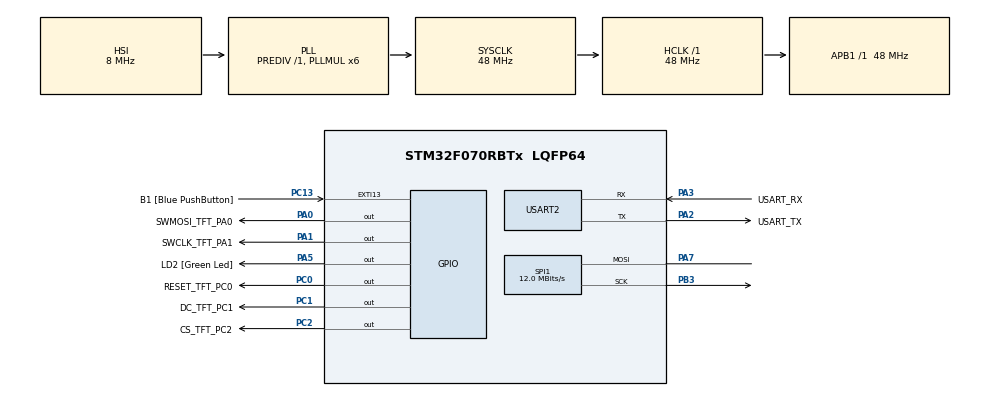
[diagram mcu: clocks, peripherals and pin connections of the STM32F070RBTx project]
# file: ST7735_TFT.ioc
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Mcu.Family=STM32F0
Mcu.Name=STM32F070RBTx
Mcu.Package=LQFP64
PA0.GPIO_Label=SWMOSI_TFT_PA0
PA0.Signal=GPIO_Output
PA1.GPIO_Label=SWCLK_TFT_PA1
PA1.Signal=GPIO_Output
PA13.GPIO_Label=TMS
PA13.Mode=Serial_Wire
PA13.Signal=SYS_SWDIO
PA14.GPIO_Label=TCK
PA14.Mode=Serial_Wire
PA14.Signal=SYS_SWCLK
PA2.GPIO_Label=USART_TX
PA2.Mode=Asynchronous
PA2.Signal=USART2_TX
PA3.GPIO_Label=USART_RX
PA3.Mode=Asynchronous
PA3.Signal=USART2_RX
PA5.GPIO_Label=LD2 [Green Led]
PA5.Signal=GPIO_Output
PA7.Mode=Simplex_Bidirectional_Master
PA7.Signal=SPI1_MOSI
PB3.Mode=Simplex_Bidirectional_Master
PB3.Signal=SPI1_SCK
PC0.GPIO_Label=RESET_TFT_PC0
PC0.Signal=GPIO_Output
PC1.GPIO_Label=DC_TFT_PC1
PC1.Signal=GPIO_Output
PC13.GPIO_Label=B1 [Blue PushButton]
PC13.GPIO_ModeDefaultEXTI=GPIO_MODE_IT_FALLING
PC13.Signal=GPXTI13
PC14-OSC32_IN.GPIO_Label=RCC_OSC32_IN
PC14-OSC32_IN.Mode=LSE-External-Oscillator
PC14-OSC32_IN.Signal=RCC_OSC32_IN
PC15-OSC32_OUT.GPIO_Label=RCC_OSC32_OUT
PC15-OSC32_OUT.Mode=LSE-External-Oscillator
PC15-OSC32_OUT.Signal=RCC_OSC32_OUT
PC2.GPIO_Label=CS_TFT_PC2
PC2.Signal=GPIO_Output
PF0-OSC_IN.GPIO_Label=RCC_OSC_IN
PF0-OSC_IN.Mode=HSE-External-Clock-Source
PF0-OSC_IN.Signal=RCC_OSC_IN
PF1-OSC_OUT.GPIO_Label=RCC_OSC_OUT
PF1-OSC_OUT.Signal=RCC_OSC_OUT
ProjectManager.HeapSize=0x200
ProjectManager.StackSize=0x400
ProjectManager.TargetToolchain=STM32CubeIDE
RCC.AHBFreq_Value=48000000
RCC.APB1Freq_Value=48000000
RCC.APB1TimFreq_Value=48000000
RCC.HCLKFreq_Value=48000000
RCC.PLLMUL=RCC_PLL_MUL6
RCC.SYSCLKFreq_VALUE=48000000
RCC.SYSCLKSource=RCC_SYSCLKSOURCE_PLLCLK
SPI1.BaudRatePrescaler=SPI_BAUDRATEPRESCALER_4
SPI1.CalculateBaudRate=12.0 MBits/s
SPI1.DataSize=SPI_DATASIZE_8BIT
SPI1.Direction=SPI_DIRECTION_1LINE
SPI1.Mode=SPI_MODE_MASTER
SPI1.VirtualType=VM_MASTER
TIM16.ClockDivision=TIM_CLOCKDIVISION_DIV1
TIM16.Prescaler=4800-1
USART2.VirtualMode-Asynchronous=VM_ASYNC
VP_TIM16_VS_ClockSourceINT.Mode=Enable_Timer
board=NUCLEO-F070RB

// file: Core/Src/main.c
/* USER CODE BEGIN Header */
/**
  ******************************************************************************
  * @file           : main.c
  * @brief          : Main program body
  ******************************************************************************
  * @attention
  *
  * <h2><center>&copy; Copyright (c) 2021 STMicroelectronics.
  * All rights reserved.</center></h2>
  *
  * This software component is licensed by ST under BSD 3-Clause license,
  * the "License"; You may not use this file except in compliance with the
  * License. You may obtain a copy of the License at:
  *                        opensource.org/licenses/BSD-3-Clause
  *
  ******************************************************************************
  */
/* USER CODE END Header */
#include "main.h"

/* USER CODE BEGIN Includes */
#include "ST7735_TFT.h"
#include "ST7735_TFT_BITMAP_DATA.h"
#include <stdio.h> //printf
/* USER CODE END Includes */

/* USER CODE BEGIN PD */
// *********** Defines **************
#define TEST_DELAY1 1000
#define TEST_DELAY2 2000
#define TEST_DELAY5 5000
bool bTestFPS = false;
/* USER CODE END PD */

SPI_HandleTypeDef hspi1;

TIM_HandleTypeDef htim16;

UART_HandleTypeDef huart2;

void SystemClock_Config(void);
static void MX_GPIO_Init(void);
static void MX_USART2_UART_Init(void);
static void MX_SPI1_Init(void);
static void MX_TIM16_Init(void);
/* USER CODE BEGIN PFP */
void Setup(void);

void Test0(void); // Print out all five fonts, fonts must be enabled in header file for this to work
void Test1A(void); // defined 16-bit Colors, text
void Test1B(void); // print entire ASCII font 32 to 127
void Test1C(void); // inverted text
void Test1D(void); // test TFTprint
void Test2(void); // font sizes + character draw
void Test3(void); // pixels and lines
void Test4(void); // rectangles
void Test4B(void); // rectangle buffer method
void Test5(void); // Circle
void Test6(void); // Triangles
void Test7(void); // scroll
void Test8(void); // More shapes, media buttons graphic.
void Test9(void); // Rotate
void Test10(void); // change modes test
void Test11(void); // custom char/icon  byte tall
void Test12(void); // two color bitmap Method one
void Test14(void); // two color bitmap method2
void Test15(void); // 16 _24 color bitmap
void TestFPS(void); // FPS test using timer16 set to 10Khz tick

void EndTest(void);
/* USER CODE END PFP */

int main(void)
{

  /* MCU Configuration--------------------------------------------------------*/

  /* Reset of all peripherals, Initializes the Flash interface and the Systick. */
  HAL_Init();

  /* Configure the system clock */
  SystemClock_Config();

  /* Initialize all configured peripherals */
  MX_GPIO_Init();
  MX_USART2_UART_Init();
  MX_SPI1_Init();
  MX_TIM16_Init();

  /* Infinite loop */
  /* USER CODE BEGIN WHILE */
  while (1)
  {
	Setup();
    Test0();
    Test1A();
    Test1B();
    Test1C();
    Test1D();
    Test2();
    Test3();
    Test4();
    Test4B();
    Test5();
    Test6();
    Test7();
    Test8();
    Test9();
    Test10();
    Test11();
    Test12();
    Test14();
    Test15();
    if (bTestFPS == true) TestFPS();
    EndTest();
    /* USER CODE END WHILE */

  }
}

void SystemClock_Config(void)
{
  RCC_OscInitTypeDef RCC_OscInitStruct = {0};
  RCC_ClkInitTypeDef RCC_ClkInitStruct = {0};

  /** Initializes the RCC Oscillators according to the specified parameters
  * in the RCC_OscInitTypeDef structure.
  */
  RCC_OscInitStruct.OscillatorType = RCC_OSCILLATORTYPE_HSI;
  RCC_OscInitStruct.HSIState = RCC_HSI_ON;
  RCC_OscInitStruct.HSICalibrationValue = RCC_HSICALIBRATION_DEFAULT;
  RCC_OscInitStruct.PLL.PLLState = RCC_PLL_ON;
  RCC_OscInitStruct.PLL.PLLSource = RCC_PLLSOURCE_HSI;
  RCC_OscInitStruct.PLL.PLLMUL = RCC_PLL_MUL6;
  RCC_OscInitStruct.PLL.PREDIV = RCC_PREDIV_DIV1;
  if (HAL_RCC_OscConfig(&RCC_OscInitStruct) != HAL_OK)
  {
    Error_Handler();
  }

  /** Initializes the CPU, AHB and APB buses clocks
  */
  RCC_ClkInitStruct.ClockType = RCC_CLOCKTYPE_HCLK|RCC_CLOCKTYPE_SYSCLK
                              |RCC_CLOCKTYPE_PCLK1;
  RCC_ClkInitStruct.SYSCLKSource = RCC_SYSCLKSOURCE_PLLCLK;
  RCC_ClkInitStruct.AHBCLKDivider = RCC_SYSCLK_DIV1;
  RCC_ClkInitStruct.APB1CLKDivider = RCC_HCLK_DIV1;

  if (HAL_RCC_ClockConfig(&RCC_ClkInitStruct, FLASH_LATENCY_1) != HAL_OK)
  {
    Error_Handler();
  }
}

static void MX_SPI1_Init(void)
{

  /* SPI1 parameter configuration*/
  hspi1.Instance = SPI1;
  hspi1.Init.Mode = SPI_MODE_MASTER;
  hspi1.Init.Direction = SPI_DIRECTION_1LINE;
  hspi1.Init.DataSize = SPI_DATASIZE_8BIT;
  hspi1.Init.CLKPolarity = SPI_POLARITY_LOW;
  hspi1.Init.CLKPhase = SPI_PHASE_1EDGE;
  hspi1.Init.NSS = SPI_NSS_SOFT;
  hspi1.Init.BaudRatePrescaler = SPI_BAUDRATEPRESCALER_4;
  hspi1.Init.FirstBit = SPI_FIRSTBIT_MSB;
  hspi1.Init.TIMode = SPI_TIMODE_DISABLE;
  hspi1.Init.CRCCalculation = SPI_CRCCALCULATION_DISABLE;
  hspi1.Init.CRCPolynomial = 7;
  hspi1.Init.CRCLength = SPI_CRC_LENGTH_DATASIZE;
  hspi1.Init.NSSPMode = SPI_NSS_PULSE_ENABLE;
  if (HAL_SPI_Init(&hspi1) != HAL_OK)
  {
    Error_Handler();
  }

}

static void MX_TIM16_Init(void)
{

  htim16.Instance = TIM16;
  htim16.Init.Prescaler = 4800-1;
  htim16.Init.CounterMode = TIM_COUNTERMODE_UP;
  htim16.Init.Period = 65535;
  htim16.Init.ClockDivision = TIM_CLOCKDIVISION_DIV1;
  htim16.Init.RepetitionCounter = 0;
  htim16.Init.AutoReloadPreload = TIM_AUTORELOAD_PRELOAD_DISABLE;
  if (HAL_TIM_Base_Init(&htim16) != HAL_OK)
  {
    Error_Handler();
  }

}

static void MX_USART2_UART_Init(void)
{

  huart2.Instance = USART2;
  huart2.Init.BaudRate = 38400;
  huart2.Init.WordLength = UART_WORDLENGTH_8B;
  huart2.Init.StopBits = UART_STOPBITS_1;
  huart2.Init.Parity = UART_PARITY_NONE;
  huart2.Init.Mode = UART_MODE_TX_RX;
  huart2.Init.HwFlowCtl = UART_HWCONTROL_NONE;
  huart2.Init.OverSampling = UART_OVERSAMPLING_16;
  huart2.Init.OneBitSampling = UART_ONE_BIT_SAMPLE_DISABLE;
  huart2.AdvancedInit.AdvFeatureInit = UART_ADVFEATURE_NO_INIT;
  if (HAL_UART_Init(&huart2) != HAL_OK)
  {
    Error_Handler();
  }

}

static void MX_GPIO_Init(void)
{
  GPIO_InitTypeDef GPIO_InitStruct = {0};

  /* GPIO Ports Clock Enable */
  __HAL_RCC_GPIOC_CLK_ENABLE();
  __HAL_RCC_GPIOF_CLK_ENABLE();
  __HAL_RCC_GPIOA_CLK_ENABLE();
  __HAL_RCC_GPIOB_CLK_ENABLE();

  /*Configure GPIO pin Output Level */
  HAL_GPIO_WritePin(GPIOC, RESET_TFT_PC0_Pin|DC_TFT_PC1_Pin|CS_TFT_PC2_Pin, GPIO_PIN_RESET);

  /*Configure GPIO pin Output Level */
  HAL_GPIO_WritePin(GPIOA, SWMOSI_TFT_PA0_Pin|SWCLK_TFT_PA1_Pin|LD2_Pin, GPIO_PIN_RESET);

  /*Configure GPIO pin : B1_Pin */
  GPIO_InitStruct.Pin = B1_Pin;
  GPIO_InitStruct.Mode = GPIO_MODE_IT_FALLING;
  GPIO_InitStruct.Pull = GPIO_NOPULL;
  HAL_GPIO_Init(B1_GPIO_Port, &GPIO_InitStruct);

  /*Configure GPIO pins : RESET_TFT_PC0_Pin DC_TFT_PC1_Pin CS_TFT_PC2_Pin */
  GPIO_InitStruct.Pin = RESET_TFT_PC0_Pin|DC_TFT_PC1_Pin|CS_TFT_PC2_Pin;
  GPIO_InitStruct.Mode = GPIO_MODE_OUTPUT_PP;
  GPIO_InitStruct.Pull = GPIO_NOPULL;
  GPIO_InitStruct.Speed = GPIO_SPEED_FREQ_LOW;
  HAL_GPIO_Init(GPIOC, &GPIO_InitStruct);

  /*Configure GPIO pins : SWMOSI_TFT_PA0_Pin SWCLK_TFT_PA1_Pin LD2_Pin */
  GPIO_InitStruct.Pin = SWMOSI_TFT_PA0_Pin|SWCLK_TFT_PA1_Pin|LD2_Pin;
  GPIO_InitStruct.Mode = GPIO_MODE_OUTPUT_PP;
  GPIO_InitStruct.Pull = GPIO_NOPULL;
  GPIO_InitStruct.Speed = GPIO_SPEED_FREQ_LOW;
  HAL_GPIO_Init(GPIOA, &GPIO_InitStruct);

}

/* USER CODE BEGIN 4 */
// Initialize the device

void Setup(void)
{
    #ifdef TFT_SPI_HARDWARE
   		TFTSPIHWInitialize(&hspi1);
	#endif

 // ****** USER OPTION 1 Screen Setup ******
	uint8_t OFFSET_COL = 0;  // 2, These offsets can be adjusted for any issues->
	uint8_t OFFSET_ROW = 0 ; // 3, with manufacture tolerance/defects at edge of screen
	uint16_t TFT_PIXEL_WIDTH = 128;// Screen width in pixels
	uint16_t TFT_PIXEL_HEIGHT = 128; // Screen height in pixels

	TFTInitScreenSize(OFFSET_COL, OFFSET_ROW , TFT_PIXEL_WIDTH  , TFT_PIXEL_HEIGHT);

// ******** USER OPTION 2 PCB_TYPE **************************
// init PCB type , pass enum 4 choices, see readme
	TFTInitPCBType(TFT_ST7735R_Red);
//**********************************************************

    TFTFontNum(TFTFont_Default);
    TFTfillScreen(ST7735_BLACK);
}

void EndTest(void)
{
    char testString[10];
    sprintf(testString, "V: %u", TFTgetLibVer());
	TFTfillScreen(ST7735_BLACK);
    TFTdrawText(5, 50, "Tests over", ST7735_GREEN, ST7735_BLACK, 2);
    TFTdrawText(5, 80, testString, ST7735_YELLOW, ST7735_BLACK, 2);

    while (1);
}

void Test0(void) {

	TFTFontNum(TFTFont_Default);
    TFTdrawText(0, 4, "Default 1", ST7735_WHITE, ST7735_BLACK, 2);
    TFTFontNum(TFTFont_Thick);
    TFTdrawText(0, 22, "THICK 2", ST7735_GREEN, ST7735_BLACK, 2);
    TFTFontNum(TFTFont_Seven_Seg);
    TFTdrawText(0, 42, "Seven 3", ST7735_BLUE, ST7735_BLACK, 2);
    TFTFontNum(TFTFont_Wide);
    TFTdrawText(0, 62, "WIDE 4", ST7735_CYAN, ST7735_BLACK, 2);
    TFTFontNum(TFTFont_Tiny);
    TFTdrawText(0, 82, "Tiny 5", ST7735_TAN, ST7735_BLACK, 2);
    TFTFontNum(TFTFont_Homespun);
    TFTdrawText(0, 102, "Home 6", ST7735_YELLOW, ST7735_BLACK, 2);
    HAL_Delay(TEST_DELAY5);
    TFTfillScreen(ST7735_BLACK);

    TFTFontNum(TFTFont_Bignum);
    TFTdrawText2(2, 4, "-12.3", ST7735_WHITE, ST7735_BLACK);
    TFTFontNum(TFTFont_Mednum);
    TFTdrawText2(2, 40, "-14.9", ST7735_BLACK, ST7735_YELLOW);
    TFTFontNum(TFTFont_ArialRound);
    TFTdrawText2(2, 72, "Arial R", ST7735_GREEN, ST7735_BLACK);
    HAL_Delay(TEST_DELAY5);
    TFTfillScreen(ST7735_BLACK);

    TFTFontNum(TFTFont_ArialBold);
    TFTdrawText2(2, 4, "Arial B", ST7735_WHITE, ST7735_BLACK);
    TFTFontNum(TFTFont_Mia);
    TFTdrawText2(2, 40, "Mia Font", ST7735_BLACK, ST7735_GREEN);
    TFTFontNum(TFTFont_Dedica);
    TFTdrawText2(2, 72, "Dedica Font", ST7735_GREEN, ST7735_BLACK);
    HAL_Delay(TEST_DELAY5);
    TFTfillScreen(ST7735_BLACK);

    TFTFontNum(TFTFont_Default);
}

void Test1A(void) {
    TFTdrawText(0, 5, "WHITE", ST7735_WHITE, ST7735_BLACK, 1);
    TFTdrawText(0, 15, "BLUE", ST7735_BLUE, ST7735_BLACK, 1);
    TFTdrawText(0, 25, "RED", ST7735_RED, ST7735_BLACK, 1);
    TFTdrawText(0, 35, "GREEN", ST7735_GREEN, ST7735_BLACK, 1);
    TFTdrawText(0, 45, "CYAN", ST7735_CYAN, ST7735_BLACK, 1);
    TFTdrawText(0, 55, "MAGENTA", ST7735_MAGENTA, ST7735_BLACK, 1);
    TFTdrawText(0, 65, "YELLOW", ST7735_YELLOW, ST7735_BLACK, 1);
    TFTdrawText(0, 75, "ORANGE", ST7735_ORANGE, ST7735_BLACK, 1);
    TFTdrawText(0, 85, "GREY", ST7735_GREY, ST7735_BLACK, 1);
    TFTdrawText(0, 95, "TAN", ST7735_TAN, ST7735_BLACK, 1);
    TFTdrawText(0, 105, "BROWN", ST7735_BROWN, ST7735_BLACK, 1);
    HAL_Delay(TEST_DELAY2);
    TFTfillScreen(ST7735_BLACK);
}

void Test1B(void) {
    uint8_t row = 20;
    uint8_t col = 0;
    for (char i = 0x20; i < 126; i++) {
        TFTdrawChar(col, row, i, ST7735_GREEN, ST7735_BLACK, 1);
        col += 10;
        if (col > 100) {
            row += 10;
            col = 0;
        }
    }

    HAL_Delay(TEST_DELAY5);
    TFTfillScreen(ST7735_BLACK);
}

void Test1C(void)
{
	// test invert font 1-6
	// Draw a rectangle before text to hide  padding gaps(or fill screen)
    TFTfillRect(0, 4, 100, 17, ST7735_YELLOW);
    TFTdrawText(0, 5, "Invert 1", ST7735_RED, ST7735_YELLOW, 2);
    // Draw a rectangle to hide padding gaps(or fill screen)
    TFTfillRect(0, 24, 100, 17, ST7735_WHITE);
    TFTdrawText(0, 25, "Invert 2", ST7735_BLACK, ST7735_WHITE, 2);

    // test invert font 7-12(no need for background)
    TFTFontNum(TFTFont_ArialBold);
    TFTdrawText2(0, 65, "Invert 3", ST7735_BLACK, ST7735_WHITE);
    HAL_Delay(TEST_DELAY5);
    TFTfillScreen(ST7735_BLACK);
    TFTFontNum(TFTFont_Default);

}

void Test1D(void)
{
	uint16_t myPosInt = 765;
	int16_t  myNegInt = -12;
	float myFloat = 3.14422;

    TFTPrintf(5, 5, ST7735_WHITE, ST7735_BLACK, 1, "Pos= %u",myPosInt);
    TFTPrintf(5, 45, ST7735_WHITE, ST7735_BLACK, 2, "Neg= %d",myNegInt);
    TFTPrintf(5, 85, ST7735_WHITE, ST7735_BLACK, 1, "float %.2f" ,myFloat);

    HAL_Delay(TEST_DELAY5);
    TFTfillScreen(ST7735_BLACK);

    TFTFontNum(TFTFont_Dedica);
    TFTPrintf(5, 5, ST7735_WHITE, ST7735_BLACK, 0, "Pos num %u",myPosInt);
    TFTPrintf(5, 45, ST7735_WHITE, ST7735_BLACK, 0, "Neg num %d",myNegInt);
    TFTPrintf(5, 85, ST7735_WHITE, ST7735_BLACK, 0, "float %.2f" ,myFloat);
    HAL_Delay(TEST_DELAY5);
    TFTfillScreen(ST7735_BLACK);

    TFTFontNum(TFTFont_Default);
}

void Test2(void) {
    char *txttwo = "TEST";
    TFTdrawText(0, 5, txttwo, ST7735_WHITE, ST7735_BLACK, 2);
    TFTdrawText(0, 25, txttwo, ST7735_WHITE, ST7735_BLACK, 3);
    TFTdrawText(0, 55, txttwo, ST7735_WHITE, ST7735_BLACK, 4);
    TFTdrawChar(0, 85, 'G', ST7735_WHITE, ST7735_BLACK, 5);
    TFTdrawChar(45, 85, 'L', ST7735_WHITE, ST7735_BLACK, 5);

    HAL_Delay(TEST_DELAY2);
    TFTfillScreen(ST7735_BLACK);
}

void Test3(void)
{
    TFTdrawPixel(85, 5, ST7735_WHITE);
    TFTdrawPixel(87, 7, ST7735_WHITE);
    TFTdrawPixel(89, 9, ST7735_WHITE);
    TFTdrawLine(10, 10, 30, 30, ST7735_RED);
    TFTdrawFastVLine(40, 40, 40, ST7735_GREEN);
    TFTdrawFastHLine(60, 60, 40, ST7735_YELLOW);

    HAL_Delay(TEST_DELAY2);
    TFTfillScreen(ST7735_BLACK);
}

void Test4(void) {
    TFTdrawRectWH(5, 5, 20, 20, ST7735_RED);
    TFTfillRectangle(45, 5, 20, 20, ST7735_YELLOW);
    TFTfillRect(85, 5, 20, 20, ST7735_GREEN);
    TFTdrawRoundRect(15, 60, 50, 50, 5, ST7735_CYAN);
    TFTfillRoundRect(70, 60, 50, 50, 10, ST7735_WHITE);

    HAL_Delay(TEST_DELAY2);
    TFTfillScreen(ST7735_BLACK);
}

void Test4B(void)
{
	TFTfillRectangleBuffer(0, 0, 128, 128, ST7735_RED);
	HAL_Delay(TEST_DELAY1);
	TFTfillRectangleBuffer(0, 0, 128, 128, ST7735_GREEN);
	HAL_Delay(TEST_DELAY1);
	TFTfillRectangleBuffer(0, 0, 128, 128, ST7735_BLUE);
	HAL_Delay(TEST_DELAY1);
	TFTfillRectangleBuffer(20, 20, 20, 40, ST7735_BLACK);
	TFTfillRectangleBuffer(80, 20, 20, 20, ST7735_BLACK);
	HAL_Delay(TEST_DELAY5);
	TFTfillScreenBuffer(ST7735_BLACK);
}

void Test5(void) {
    TFTdrawCircle(40, 20, 15, ST7735_GREEN);
    TFTfillCircle(80, 20, 15, ST7735_YELLOW);
}

void Test6(void) {
    TFTdrawTriangle(5, 80, 50, 40, 95, 80, ST7735_CYAN);
    TFTfillTriangle(55, 120, 100, 90, 127, 120, ST7735_RED);

    HAL_Delay(TEST_DELAY2);
    TFTfillScreen(ST7735_BLACK);
}

void Test7(void)
{
  const uint8_t LINES = 10, LINE_SIZE = 10, LINE_OFFSET = 3, TOP_FIXED = 0, BOTTOM_FIXED = 0;

  for (uint8_t i = 0; i < LINES; i++)
  {
    TFTdrawText(0, LINE_OFFSET+i*LINE_SIZE,"Scroll test", ST7735_WHITE, ST7735_BLACK, 1);
  }
  TFTsetScrollDefinition(TOP_FIXED,BOTTOM_FIXED,1);  // bottom-to-top
  uint8_t pos = LINE_OFFSET;
  for (uint8_t i = 0; i < LINES; i++)
  {
    for (uint8_t j = 0; j < LINE_SIZE; j++)
    {
      TFTVerticalScroll(pos + TOP_FIXED);
      pos++;
      // check pos if necessary: must be < tft_height - TOP_FIXED - BOTTOM_FIXED
      HAL_Delay(25);
    }
    HAL_Delay(TEST_DELAY1);
  }
  TFTchangeMode(ST7735_modes_Normal);
  TFTfillScreen(ST7735_BLACK);
}

void Test8()
{
    //Draw play button
    TFTfillRoundRect(25, 10, 78, 60, 8, ST7735_WHITE);
    TFTfillTriangle(42, 20, 42, 60, 90, 40, ST7735_RED);
    TFTdrawText(5, 80, "Press Play", ST7735_GREEN, ST7735_BLACK, 2);
    HAL_Delay(TEST_DELAY5);

    // change play color
    TFTfillTriangle(42, 20, 42, 60, 90, 40, ST7735_BLUE);
    HAL_Delay(TEST_DELAY1);
    // change play color
    TFTfillTriangle(42, 20, 42, 60, 90, 40, ST7735_GREEN);
    HAL_Delay(TEST_DELAY1);
}

void Test9()
{
    TFTfillScreen(ST7735_BLACK);
    TFTsetRotation(ST7735_Degrees_0);
    TFTdrawText(20, 20, "Rotate 0", ST7735_YELLOW, ST7735_BLACK, 1);
    TFTdrawText(20, 100, "Rotate 0", ST7735_YELLOW, ST7735_BLACK, 1);
    HAL_Delay(TEST_DELAY2);

    TFTfillScreen(ST7735_BLACK);
    TFTsetRotation(ST7735_Degrees_90);
    TFTdrawText(20, 20, "Rotate 90", ST7735_YELLOW, ST7735_BLACK, 1);
    TFTdrawText(20, 100, "Rotate 90", ST7735_YELLOW, ST7735_BLACK, 1);
    HAL_Delay(TEST_DELAY2);

    TFTfillScreen(ST7735_BLACK);
    TFTsetRotation(ST7735_Degrees_180);
    TFTdrawText(20, 20, "Rotate 180", ST7735_YELLOW, ST7735_BLACK, 1);
    TFTdrawText(20, 100, "Rotate 180", ST7735_YELLOW, ST7735_BLACK, 1);
    HAL_Delay(TEST_DELAY2);

    TFTfillScreen(ST7735_BLACK);
    TFTsetRotation(ST7735_Degrees_270);
    TFTdrawText(20, 20, "Rotate 270", ST7735_YELLOW, ST7735_BLACK, 1);
    TFTdrawText(20, 100, "Rotate 270", ST7735_YELLOW, ST7735_BLACK, 1);
    HAL_Delay(TEST_DELAY2);

    TFTsetRotation(ST7735_Degrees_0);
    TFTchangeMode(ST7735_modes_Normal);
    TFTfillScreen(ST7735_BLACK);
}

void Test10()
{
     TFTfillRoundRect(25, 10, 78, 60, 8, ST7735_YELLOW);
     TFTdrawText(30, 80, "Mode test", ST7735_WHITE, ST7735_RED, 1);
     HAL_Delay(TEST_DELAY2);
	 TFTchangeMode(ST7735_modes_Normal);
	 HAL_Delay(TEST_DELAY2);
	 TFTchangeMode(ST7735_modes_Invert);
	 HAL_Delay(TEST_DELAY2);
	 TFTchangeMode(ST7735_modes_Normal);
	 HAL_Delay(TEST_DELAY2);
	 TFTchangeMode(ST7735_modes_DisplayOff);
	 HAL_Delay(TEST_DELAY2);
	 TFTchangeMode(ST7735_modes_DisplayOn);
	 HAL_Delay(TEST_DELAY2);
	 TFTchangeMode(ST7735_modes_Sleep);
	 HAL_Delay(TEST_DELAY2);
	 TFTchangeMode(ST7735_modes_Normal);
}

void Test11(void)
{
    TFTfillScreen(ST7735_BLACK);
    //power icon
    const unsigned char power[12] = {0xff, 0xe7, 0xc3, 0x99, 0xa5, 0xad, 0xad, 0xa5, 0x99, 0xc3, 0xe7, 0xff};
    //lighting symbol
    const unsigned char myspeed[12] = {0xff, 0xff, 0xf7, 0xb3, 0xd1, 0xc0, 0xe0, 0xf4, 0xf6, 0xfe, 0xff, 0xff};

    TFTdrawIcon(10, 20, 12, ST7735_WHITE , ST7735_BLACK,power);
    TFTdrawIcon(10, 50, 12, ST7735_RED, ST7735_YELLOW, myspeed);
    TFTdrawText(0, 90, "Custom chars", ST7735_GREEN, ST7735_BLACK, 1);
    HAL_Delay(TEST_DELAY5);

}

void Test12(void)
{
#ifdef TFT_BITMAP_BICOLOUR
 extern const uint8_t * pBackUpIconptr; // defined in ST7735_TFT_BITMAPDATA.c

 TFTdrawBitmap(0, 0, 128 , 128, ST7735_WHITE , ST7735_GREEN, pBackUpIconptr, 128*(128/8));
 HAL_Delay(TEST_DELAY5);
 TFTfillScreen(ST7735_BLACK);
#endif
}

void Test14(void)
{
#ifdef TFT_BITMAP_BICOLOUR
extern const uint8_t * pBackUpIconptr; // defined in ST7735_TFT_BITMAPDATA.c

TFTdrawBitmapBuffer(0, 0, 128 , 128, ST7735_WHITE , ST7735_GREEN, pBackUpIconptr,  128*(128/8));
HAL_Delay(TEST_DELAY5);
TFTfillScreen(ST7735_BLACK);
#endif

}

void Test15(void)
{
#ifdef TFT_BITMAP_16COLOUR // 16 bit colour bitmap test
extern const uint8_t * pMotorptr; // defined in ST7735_TFT_BITMAPDATA.c

TFTdrawBitmap1624Buffer(0, 0, 128 , 128, pMotorptr, TFT_BMP_16);
HAL_Delay(TEST_DELAY5);
TFTfillScreen(ST7735_BLACK);
#endif

#ifdef TFT_BITMAP_24COLOUR // 24 bit colour bitmap test
extern const uint8_t * pFruitBowlptr; // defined in ST7735_TFT_BITMAPDATA.c

TFTdrawBitmap1624Buffer(20, 20, 64, 64, pFruitBowlptr, TFT_BMP_24);
HAL_Delay(TEST_DELAY5);
TFTfillScreen(ST7735_BLACK);
#endif
}

void TestFPS(void)
{
	char uart_buf[50];
	int uart_buf_len;
	uint16_t timer_val;
	long lastFramerate = 0;
	long currentFramerate = 0;
	uint16_t count  = 0;
	uint16_t seconds  = 0;
	uint16_t fps = 0;
	uint16_t shapeColor = 0x2222;

    uart_buf_len = sprintf(uart_buf, "FPS TEST \r\n");
    HAL_UART_Transmit(&huart2, (uint8_t *)uart_buf, uart_buf_len, 100);
   // Start timer
	HAL_TIM_Base_Start(&htim16);
	// Get current time (microseconds)
	timer_val = __HAL_TIM_GET_COUNTER(&htim16);

	 while(1)
	{
		 // If enough time has passed (1 second), toggle LED and get new timestamp
		  // 10 KHz = .0001seconds .1 mS  * 10000 = 1 second . max 65000 6.5 seconds.
		if (__HAL_TIM_GET_COUNTER(&htim16) - timer_val >= 10000)
		{
				HAL_GPIO_TogglePin(GPIOA, GPIO_PIN_5); // onboard LED toggle
				timer_val = __HAL_TIM_GET_COUNTER(&htim16);
				fps = currentFramerate - lastFramerate;
				lastFramerate = currentFramerate ;
				seconds++;
				shapeColor = rand() % 60000;
				if (seconds == 10)break; // end after 10 seconds
		}
		currentFramerate++;
		count++;
		//  ** Code to test here **
		//TFTdrawBitmapBuffer(0, 0, 128 , 128, ST7735_WHITE , ST7735_GREEN, pBackUpIconptr);
		TFTfillRectangleBuffer(0, 0, 128, 128, shapeColor);
		//TFTfillScreen(shapeColor);
		// ***************************
	}
	uart_buf_len = sprintf(uart_buf, "Seconds :: %u, Count :: %u, FPS :: %u\r\n", seconds,count,fps);
	HAL_UART_Transmit(&huart2, (uint8_t *)uart_buf, uart_buf_len, 100);

}
/* USER CODE END 4 */

void Error_Handler(void)
{
}
